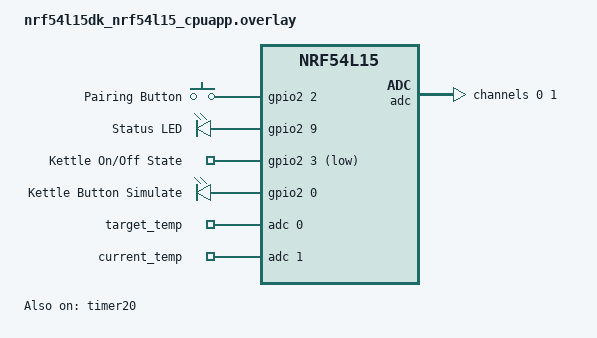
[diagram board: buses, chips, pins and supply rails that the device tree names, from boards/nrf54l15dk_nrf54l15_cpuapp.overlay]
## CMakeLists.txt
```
#
# CMakeLists.txt for KitchenAid Zigbee Kettle Controller
#
# SPDX-License-Identifier: Apache-2.0
#

cmake_minimum_required(VERSION 3.20.0)

find_package(Zephyr REQUIRED HINTS $ENV{ZEPHYR_BASE})

project("KitchenAid Zigbee Kettle")

target_sources(app PRIVATE
    ${CMAKE_CURRENT_SOURCE_DIR}/src/main.c
)

target_include_directories(app PRIVATE
    ${CMAKE_CURRENT_SOURCE_DIR}/include
)

# Add include path for pm_config.h (needed by partition manager)
zephyr_include_directories(${CMAKE_CURRENT_SOURCE_DIR}/include)
```

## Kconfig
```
# KitchenAid Kettle Kconfig

menu "Kettle Configuration"

config KETTLE_TX_POWER
	int "Zigbee TX power in dBm"
	default 8
	range -20 8
	help
	  Set the Zigbee radio transmit power in dBm.
	  Range: -20 to +8 dBm for nRF54L15.
	  Higher values improve range but increase power consumption.

endmenu

source "Kconfig.zephyr"
```

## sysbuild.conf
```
#
# Base sysbuild configuration for KitchenAid Zigbee Kettle
# MCUboot is disabled by default - board-specific configs enable it
#

SB_CONFIG_BOOTLOADER_MCUBOOT=n
```

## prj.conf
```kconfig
#
# KitchenAid Zigbee Kettle Controller Configuration
# Target: Custom nRF54L15 hardware (similar to DK)
#

# Pull in nRF Connect SDK defaults
CONFIG_NCS_SAMPLES_DEFAULTS=y

# Serial / Console
CONFIG_SERIAL=y
CONFIG_CONSOLE=y
CONFIG_UART_CONSOLE=y
CONFIG_UART_INTERRUPT_DRIVEN=y

# Logging
CONFIG_LOG=y
CONFIG_LOG_DEFAULT_LEVEL=3
CONFIG_LOG_BACKEND_UART=y

# GPIO for button, LED, and kettle state input
CONFIG_GPIO=y
CONFIG_GPIO_NRFX_INTERRUPT=y
CONFIG_NRFX_GPIOTE20=y
CONFIG_NRFX_GPIOTE30=y

# ADC for temperature sensing
CONFIG_ADC=y

# Memory
CONFIG_HEAP_MEM_POOL_SIZE=4096
CONFIG_MAIN_THREAD_PRIORITY=7
CONFIG_SYSTEM_WORKQUEUE_STACK_SIZE=2048

# Zigbee - using ncs-zigbee R23 add-on
# ROUTER role - always on, forwards messages
CONFIG_ZIGBEE_ADD_ON=y
CONFIG_ZIGBEE_APP_UTILS=y
CONFIG_ZIGBEE_ROLE_ROUTER=y
CONFIG_ZIGBEE_CHANNEL_SELECTION_MODE_MULTI=y

# Zigbee stack memory - increase buffer pool for router reliability
# Routers need more buffers for message forwarding + own traffic
# Default is 26 buffers; increase for router with frequent reporting
CONFIG_ZBOSS_DEFAULT_THREAD_STACK_SIZE=4096

# Note: Using zb_mem_config_max.h in main.c for larger buffer pool
# This provides more headroom for router forwarding + own reports

# TX Power configuration (+8 dBm is max for nRF54L15)
CONFIG_KETTLE_TX_POWER=8

# ZBOSS trace logging (warning level to reduce overhead)
CONFIG_ZBOSS_TRACE_LOG_LEVEL_WRN=y

# Crypto for Zigbee security
CONFIG_CRYPTO=y
CONFIG_CRYPTO_INIT_PRIORITY=80

# Flash / NVS for persistent storage
CONFIG_FLASH=y
CONFIG_FLASH_PAGE_LAYOUT=y
CONFIG_FLASH_MAP=y
CONFIG_NVS=y
CONFIG_SETTINGS=y
CONFIG_SETTINGS_NVS=y

# Networking (disable unused)
CONFIG_NET_IPV6=n
CONFIG_NET_IP_ADDR_CHECK=n
CONFIG_NET_UDP=n

# Math library for NTC temperature calculations
CONFIG_NEWLIB_LIBC=y
CONFIG_NEWLIB_LIBC_FLOAT_PRINTF=y
```

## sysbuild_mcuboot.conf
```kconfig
#
# Sysbuild configuration for MCUboot OTA-enabled builds
# Used by nRF54L15 DK and custom boards with OTA support
#

SB_CONFIG_BOOTLOADER_MCUBOOT=y
```

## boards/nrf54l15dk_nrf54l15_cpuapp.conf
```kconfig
#
# nRF54L15 DK / Custom nRF54L15 Board
#

# Use external 32kHz crystal (LFXO)
CONFIG_CLOCK_CONTROL_NRF_K32SRC_XTAL=y
CONFIG_CLOCK_CONTROL_NRF_K32SRC_RC=n

# nRF54L15 uses RRAM, not traditional flash - no MPU flash write needed
CONFIG_MPU_ALLOW_FLASH_WRITE=n

# Disable nRF ECB crypto (not available on nRF54L15, uses CRACEN instead)
CONFIG_CRYPTO_NRF_ECB=n

# Disable unused peripherals (router is always on, no power management)
CONFIG_SPI=n
CONFIG_SENSOR=n

# Note: OTA/FOTA via MCUboot can be enabled later by uncommenting below
# and using sysbuild_mcuboot.conf in build.sh:
# CONFIG_ZIGBEE_FOTA=y
# CONFIG_ZIGBEE_FOTA_HW_VERSION=1
# CONFIG_ZIGBEE_FOTA_ENDPOINT=10
# CONFIG_ZIGBEE_FOTA_COMMENT="KettleV1"
# CONFIG_ZIGBEE_FOTA_PROGRESS_EVT=y
# CONFIG_DFU_TARGET=y
# CONFIG_DFU_TARGET_MCUBOOT=y
# CONFIG_STREAM_FLASH=y
# CONFIG_IMG_MANAGER=y
# CONFIG_IMG_ERASE_PROGRESSIVELY=y
# CONFIG_MCUBOOT_IMGTOOL_SIGN_VERSION="1.0.0"
```

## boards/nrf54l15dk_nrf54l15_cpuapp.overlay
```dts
/*
 * Device Tree Overlay for KitchenAid Zigbee Kettle Controller
 * Target: nRF54L15 DK / Custom nRF54L15 Hardware
 *
 * Pin Assignments:
 * - Pairing Button:        P2.02 (sw0) - Active low with internal pull-up
 * - Status LED:            P2.9  (led0) - Network status indication
 * - Kettle State Input:    P2.03 - GPIO input to read kettle on/off state
 * - Kettle Button Output:  P2.00 - GPIO output to simulate kettle button press
 * - Target Temp ADC:       P1.06 (AIN2) - Via buffer, 0-2.5V after divider
 * - Current Temp ADC:      P1.07 (AIN3) - Via buffer, 0-2.5V after divider
 *
 * IMPORTANT: Non-Intrusive ADC Interface
 * =======================================
 * nRF54L15 SAADC maximum input voltage is VDD (3.3V).
 * The kettle's existing circuits output 0-5V and must NOT be loaded.
 *
 * Solution: Op-amp voltage follower buffer (high-Z input, low-Z output)
 *
 *   Kettle Signal (0-5V)
 *         |
 *         +---> [Op-Amp Buffer] --[10K]--+--[10K]-- GND
 *               (e.g. MCP6001)           |
 *               High-Z input          ADC Pin (0-2.5V)
 *
 * The op-amp buffer has >1M input impedance, so it won't affect
 * the kettle's existing voltage divider circuits.
 *
 * Recommended op-amp: MCP6001 (rail-to-rail, 5V tolerant, SOT-23-5)
 * Power from kettle's 5V supply.
 *
 * Flash partitions are handled by partition manager when MCUboot is enabled.
 * nRF54L15 uses RRAM (resistive RAM) instead of traditional flash.
 */

#include <zephyr/dt-bindings/regulator/nrf5x.h>

/*
 * Override UART20 pinctrl to NOT use P1.06/P1.07 for RTS/CTS
 * These pins are needed for ADC (AIN2/AIN3)
 */
&pinctrl {
	uart20_default: uart20_default {
		group1 {
			psels = <NRF_PSEL(UART_TX, 1, 4)>;
		};
		group2 {
			psels = <NRF_PSEL(UART_RX, 1, 5)>;
			bias-pull-up;
		};
	};

	uart20_sleep: uart20_sleep {
		group1 {
			psels = <NRF_PSEL(UART_TX, 1, 4)>,
				<NRF_PSEL(UART_RX, 1, 5)>;
			low-power-enable;
		};
	};
};

/ {
	chosen {
		zephyr,console = &uart20;
		zephyr,shell-uart = &uart20;
		ncs,zigbee-timer = &timer20;
	};

	aliases {
		sw0 = &button0;
		led0 = &led0;
		kettle-state = &kettle_state_gpio;
		kettle-button = &kettle_button_gpio;
		adc-target-temp = &adc;
		adc-current-temp = &adc;
	};

	/*
	 * GPIO inputs accept 5V signals via N-MOSFET level shifters (2N7002)
	 * MOSFET inverts the signal, so we use GPIO_ACTIVE_LOW
	 *
	 * 2N7002 SOT-23 pinout: Pin 1 (G), Pin 2 (S), Pin 3 (D)
	 *
	 * Connections:
	 *   - Gate (G):   5V signal via 10K resistor
	 *   - Source (S): GND
	 *   - Drain (D):  GPIO pin (internal pull-up enabled)
	 *
	 * 5V HIGH -> MOSFET ON -> Drain LOW -> GPIO reads LOW (active)
	 * 5V LOW  -> MOSFET OFF -> Drain HIGH -> GPIO reads HIGH (inactive)
	 */

	/* Button input - line goes HIGH when button pressed
	 * Internal pull-up allows the line to go high when button is not pressed
	 */
	buttons {
		compatible = "gpio-keys";
		button0: button_0 {
			gpios = <&gpio2 2 (GPIO_PULL_UP | GPIO_ACTIVE_HIGH)>;
			label = "Pairing Button";
		};
	};

	/* Status LED */
	leds {
		compatible = "gpio-leds";
		led0: led_0 {
			gpios = <&gpio2 9 GPIO_ACTIVE_HIGH>;
			label = "Status LED";
		};
	};

	/*
	 * Kettle state input - detects 5V 50% PWM at ~150Hz (ON) vs LOW (OFF)
	 *
	 * 10K resistor + 10µF capacitor (τ=100ms) smooths PWM to ~2.5V DC:
	 *
	 *   5V PWM --[10K]--+-- Gate (G)
	 *                   |
	 *                [10µF]
	 *                   |
	 *                  GND
	 *
	 * PWM present (50%) → Cap smooths to ~2.5V DC → MOSFET ON → GPIO LOW
	 * No PWM (LOW)      → Cap discharges → MOSFET OFF → GPIO HIGH
	 */
	kettle_inputs {
		compatible = "gpio-keys";
		kettle_state_gpio: kettle_state {
			gpios = <&gpio2 3 (GPIO_PULL_UP | GPIO_ACTIVE_LOW)>;
			label = "Kettle On/Off State";
		};
	};

	/*
	 * Kettle button output - simulates physical button press
	 *
	 * Uses 2N7002 MOSFET as open-drain output to pull 5V line low:
	 *
	 *   Kettle 5V Button Line ----+---- Drain (D)
	 *                             |
	 *                          [2N7002]
	 *                          G      S
	 *                          |      |
	 *            P2.00 --------+     GND
	 *
	 * GPIO HIGH (3.3V) → MOSFET ON → Pulls 5V line LOW (button pressed)
	 * GPIO LOW         → MOSFET OFF → Line floats HIGH (button released)
	 */
	kettle_outputs {
		compatible = "gpio-leds";
		kettle_button_gpio: kettle_button {
			gpios = <&gpio2 0 GPIO_ACTIVE_HIGH>;
			label = "Kettle Button Simulate";
		};
	};

	/* ADC channels for temperature sensing */
	zephyr,user {
		io-channels = <&adc 0>, <&adc 1>;
		io-channel-names = "target_temp", "current_temp";
	};
};

&timer20 {
	status = "okay";
};

/* Use LDO mode (DCDC not available on all custom hardware) */
&vregmain {
	regulator-initial-mode = <NRF5X_REG_MODE_LDO>;
};

/* ADC configuration for temperature sensing
 * nRF54L15 SAADC analog inputs
 *
 * ADC Configuration:
 *   Reference: Internal 0.9V (nRF54L15)
 *   Gain: 1/4 (ADC_GAIN_1_4 maps to Gain2_8 on nRF54L15)
 *   Max input: 0.9V * 4 = 3.6V
 *   Expected input: 0-2.5V (from 5V through 10K-10K divider)
 */
&adc {
	status = "okay";
	#address-cells = <1>;
	#size-cells = <0>;

	/* Channel 0: Target temperature (linear pot via buffer + voltage divider)
	 * Physical pin: P1.06 (AIN2 on nRF54L15)
	 */
	channel@0 {
		reg = <0>;
		zephyr,gain = "ADC_GAIN_1_4";
		zephyr,reference = "ADC_REF_INTERNAL";
		zephyr,acquisition-time = <ADC_ACQ_TIME_DEFAULT>;
		zephyr,input-positive = <NRF_SAADC_AIN2>;
		zephyr,resolution = <12>;
	};

	/* Channel 1: Current temperature (NTC via buffer + voltage divider)
	 * Physical pin: P1.07 (AIN3 on nRF54L15)
	 */
	channel@1 {
		reg = <1>;
		zephyr,gain = "ADC_GAIN_1_4";
		zephyr,reference = "ADC_REF_INTERNAL";
		zephyr,acquisition-time = <ADC_ACQ_TIME_DEFAULT>;
		zephyr,input-positive = <NRF_SAADC_AIN3>;
		zephyr,resolution = <12>;
	};
};

/* Enable GPIOTE for GPIO interrupts */
&gpiote20 {
	status = "okay";
};

&gpiote30 {
	status = "okay";
};

/* Enable GPIO ports with GPIOTE bindings for interrupt support */
&gpio1 {
	status = "okay";
	gpiote-instance = <&gpiote20>;
};

&gpio2 {
	status = "okay";
	gpiote-instance = <&gpiote30>;
};
```

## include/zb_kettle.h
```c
/*
 * Copyright (c) 2025
 *
 * SPDX-License-Identifier: Apache-2.0
 *
 * Zigbee Kettle Device Definition
 *
 * This device implements:
 * - Basic Cluster (0x0000) - Device information
 * - Identify Cluster (0x0003) - Device identification
 * - Groups Cluster (0x0004) - Group membership
 * - On/Off Cluster (0x0006) - Kettle power state (read-only reporting)
 * - Thermostat Cluster (0x0201) - Target temperature setpoint
 * - Temperature Measurement Cluster (0x0402) - Current water temperature
 */

#ifndef ZB_KETTLE_H
#define ZB_KETTLE_H 1

#include <zboss_api.h>

/**
 * Kettle Device ID
 * Using HVAC Thermostat device type as closest match
 */
#define ZB_KETTLE_DEVICE_ID 0x0301  /* Thermostat device */

/** Kettle device version */
#define ZB_DEVICE_VER_KETTLE 1

/** Kettle IN (server) clusters number */
#define ZB_KETTLE_IN_CLUSTER_NUM 6

/** Kettle OUT (client) clusters number */
#define ZB_KETTLE_OUT_CLUSTER_NUM 0

/** Total cluster number */
#define ZB_KETTLE_CLUSTER_NUM \
	(ZB_KETTLE_IN_CLUSTER_NUM + ZB_KETTLE_OUT_CLUSTER_NUM)

/** Number of attributes for reporting
 * Increased to handle all reportable attributes:
 * - temp_measurement value
 * - thermostat local_temp
 * - thermostat occupied_heating_setpoint
 * - on_off state
 * - thermostat system_mode
 * Plus spare slots for stack-initiated reports
 */
#define ZB_KETTLE_REPORT_ATTR_COUNT 8

/**
 * @brief Declare cluster list for Kettle device
 */
#define ZB_DECLARE_KETTLE_CLUSTER_LIST(					\
	cluster_list_name,						\
	basic_attr_list,						\
	identify_attr_list,						\
	groups_attr_list,						\
	on_off_attr_list,						\
	thermostat_attr_list,						\
	temp_measurement_attr_list)					\
	zb_zcl_cluster_desc_t cluster_list_name[] =			\
	{								\
		ZB_ZCL_CLUSTER_DESC(					\
			ZB_ZCL_CLUSTER_ID_BASIC,			\
			ZB_ZCL_ARRAY_SIZE(basic_attr_list, zb_zcl_attr_t), \
			(basic_attr_list),				\
			ZB_ZCL_CLUSTER_SERVER_ROLE,			\
			ZB_ZCL_MANUF_CODE_INVALID			\
		),							\
		ZB_ZCL_CLUSTER_DESC(					\
			ZB_ZCL_CLUSTER_ID_IDENTIFY,			\
			ZB_ZCL_ARRAY_SIZE(identify_attr_list, zb_zcl_attr_t), \
			(identify_attr_list),				\
			ZB_ZCL_CLUSTER_SERVER_ROLE,			\
			ZB_ZCL_MANUF_CODE_INVALID			\
		),							\
		ZB_ZCL_CLUSTER_DESC(					\
			ZB_ZCL_CLUSTER_ID_GROUPS,			\
			ZB_ZCL_ARRAY_SIZE(groups_attr_list, zb_zcl_attr_t), \
			(groups_attr_list),				\
			ZB_ZCL_CLUSTER_SERVER_ROLE,			\
			ZB_ZCL_MANUF_CODE_INVALID			\
		),							\
		ZB_ZCL_CLUSTER_DESC(					\
			ZB_ZCL_CLUSTER_ID_ON_OFF,			\
			ZB_ZCL_ARRAY_SIZE(on_off_attr_list, zb_zcl_attr_t), \
			(on_off_attr_list),				\
			ZB_ZCL_CLUSTER_SERVER_ROLE,			\
			ZB_ZCL_MANUF_CODE_INVALID			\
		),							\
		ZB_ZCL_CLUSTER_DESC(					\
			ZB_ZCL_CLUSTER_ID_THERMOSTAT,			\
			ZB_ZCL_ARRAY_SIZE(thermostat_attr_list, zb_zcl_attr_t), \
			(thermostat_attr_list),				\
			ZB_ZCL_CLUSTER_SERVER_ROLE,			\
			ZB_ZCL_MANUF_CODE_INVALID			\
		),							\
		ZB_ZCL_CLUSTER_DESC(					\
			ZB_ZCL_CLUSTER_ID_TEMP_MEASUREMENT,		\
			ZB_ZCL_ARRAY_SIZE(temp_measurement_attr_list, zb_zcl_attr_t), \
			(temp_measurement_attr_list),			\
			ZB_ZCL_CLUSTER_SERVER_ROLE,			\
			ZB_ZCL_MANUF_CODE_INVALID			\
		)							\
	}

/**
 * @brief Declare simple descriptor for Kettle device
 */
#define ZB_ZCL_DECLARE_KETTLE_SIMPLE_DESC(ep_name, ep_id, in_clust_num, out_clust_num) \
	ZB_DECLARE_SIMPLE_DESC(in_clust_num, out_clust_num);				\
	ZB_AF_SIMPLE_DESC_TYPE(in_clust_num, out_clust_num) simple_desc_##ep_name =	\
	{										\
		ep_id,									\
		ZB_AF_HA_PROFILE_ID,							\
		ZB_KETTLE_DEVICE_ID,							\
		ZB_DEVICE_VER_KETTLE,							\
		0,									\
		in_clust_num,								\
		out_clust_num,								\
		{									\
			ZB_ZCL_CLUSTER_ID_BASIC,					\
			ZB_ZCL_CLUSTER_ID_IDENTIFY,					\
			ZB_ZCL_CLUSTER_ID_GROUPS,					\
			ZB_ZCL_CLUSTER_ID_ON_OFF,					\
			ZB_ZCL_CLUSTER_ID_THERMOSTAT,					\
			ZB_ZCL_CLUSTER_ID_TEMP_MEASUREMENT,				\
		}									\
	}

/**
 * @brief Declare endpoint for Kettle device
 */
#define ZB_DECLARE_KETTLE_EP(ep_name, ep_id, cluster_list)			\
	ZB_ZCL_DECLARE_KETTLE_SIMPLE_DESC(ep_name, ep_id,			\
		ZB_KETTLE_IN_CLUSTER_NUM, ZB_KETTLE_OUT_CLUSTER_NUM);		\
	ZBOSS_DEVICE_DECLARE_REPORTING_CTX(reporting_info##ep_name,		\
		ZB_KETTLE_REPORT_ATTR_COUNT);					\
	ZB_AF_DECLARE_ENDPOINT_DESC(ep_name, ep_id, ZB_AF_HA_PROFILE_ID,		\
		0,								\
		NULL,								\
		ZB_ZCL_ARRAY_SIZE(cluster_list, zb_zcl_cluster_desc_t), cluster_list, \
		(zb_af_simple_desc_1_1_t *)&simple_desc_##ep_name,		\
		ZB_KETTLE_REPORT_ATTR_COUNT,					\
		reporting_info##ep_name,					\
		0,								\
		NULL)

#endif /* ZB_KETTLE_H */
```
